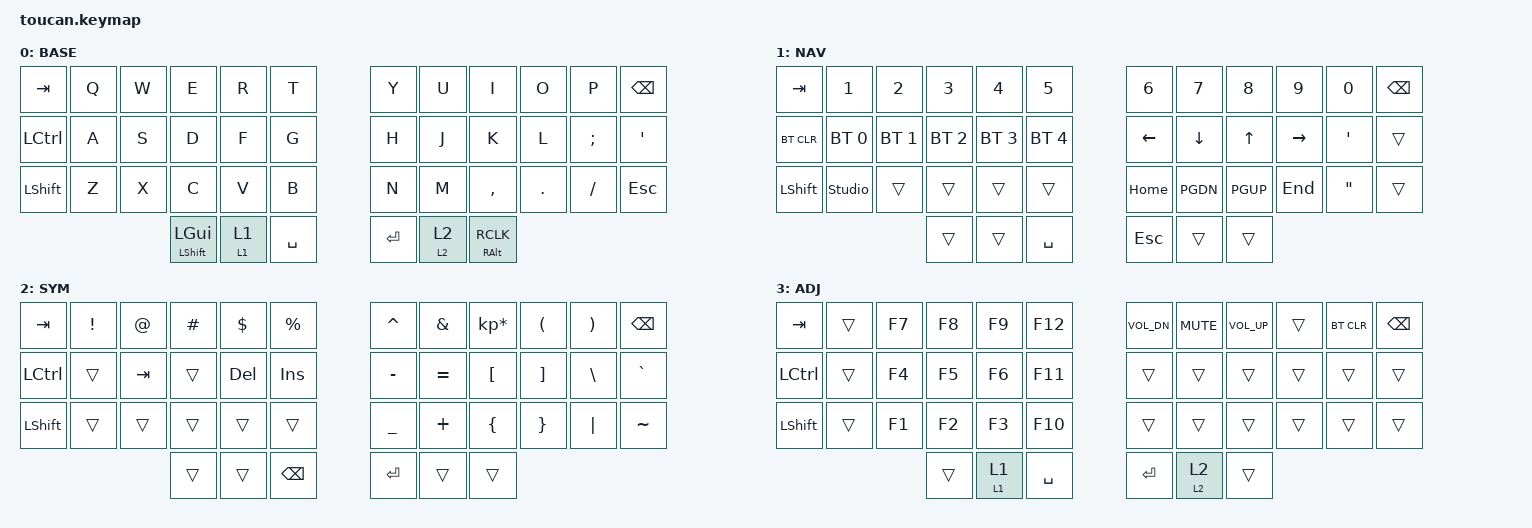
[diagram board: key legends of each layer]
#include <behaviors.dtsi>
#include <dt-bindings/zmk/keys.h>
#include <dt-bindings/zmk/bt.h>
#include <dt-bindings/zmk/pointing.h>

#define BASE 0
#define NAV 1
#define SYM 2
#define ADJ 3

/ {
    behaviors {
        lgui_shift: lgui_shift {
            compatible = "zmk,behavior-hold-tap";
            label = "LGUI_SHIFT";
            #binding-cells = <2>;
            flavor = "balanced";
            tapping-term-ms = <200>;
            quick-tap-ms = <175>;
            bindings = <&kp>, <&kp>;
        };

        ralt_rclk: ralt_rclk {
            compatible = "zmk,behavior-hold-tap";
            label = "RALT_RCLK";
            #binding-cells = <2>;
            flavor = "tap-preferred";
            tapping-term-ms = <200>;
            quick-tap-ms = <175>;
            bindings = <&kp>, <&mkp>;
        };

        nav_layer: nav_layer {
            compatible = "zmk,behavior-hold-tap";
            label = "NAV_LAYER";
            #binding-cells = <2>;
            flavor = "tap-preferred";
            tapping-term-ms = <200>;
            quick-tap-ms = <175>;
            bindings = <&mo>, <&tog>;
        };

        sym_layer: sym_layer {
            compatible = "zmk,behavior-hold-tap";
            label = "SYM_LAYER";
            #binding-cells = <2>;
            flavor = "tap-preferred";
            tapping-term-ms = <200>;
            quick-tap-ms = <175>;
            bindings = <&mo>, <&tog>;
        };
    };

    conditional_layers {
        compatible = "zmk,conditional-layers";
        tri_layer {
            if-layers = <1 2>;
            then-layer = <3>;
        };
    };

    keymap {
        compatible = "zmk,keymap";

        base {
            display-name = "BASE";
            bindings = <
                &kp TAB   &kp Q          &kp W          &kp E          &kp R          &kp T          &kp Y          &kp U          &kp I          &kp O          &kp P          &kp BSPC
                &kp LCTRL &kp A          &kp S          &kp D          &kp F          &kp G          &kp H          &kp J          &kp K          &kp L          &kp SEMI       &kp SQT
                &kp LSHFT &kp Z          &kp X          &kp C          &kp V          &kp B          &kp N          &kp M          &kp COMMA      &kp DOT        &kp FSLH       &kp ESC
                                     &lgui_shift LSHFT LGUI   &nav_layer 1 1   &kp SPACE   &kp RET   &sym_layer 2 2   &ralt_rclk RALT RCLK
            >;
        };

        nav {
            display-name = "NAV";
            bindings = <
                &kp TAB    &kp N1         &kp N2         &kp N3         &kp N4         &kp N5         &kp N6         &kp N7         &kp N8         &kp N9         &kp N0         &kp BSPC
                &bt BT_CLR &bt BT_SEL 0   &bt BT_SEL 1   &bt BT_SEL 2   &bt BT_SEL 3   &bt BT_SEL 4   &kp LEFT       &kp DOWN       &kp UP         &kp RIGHT      &kp SQT        &trans
                &kp LSHFT  &studio_unlock &trans         &trans         &trans         &trans         &kp HOME       &kp PGDN       &kp PGUP       &kp END        &kp DQT        &trans
                                     &trans             &trans          &kp SPACE      &kp ESC        &trans         &trans
            >;
        };

        sym {
            display-name = "SYM";
            bindings = <
                &kp TAB   &kp EXCL       &kp AT         &kp HASH       &kp DLLR       &kp PRCNT      &kp CARET      &kp AMPS       &kp KP_MULTIPLY &kp LPAR       &kp RPAR       &kp BSPC
                &kp LCTRL &trans         &kp TAB         &trans         &kp DEL        &kp INS        &kp MINUS      &kp EQUAL      &kp LBKT        &kp RBKT       &kp BSLH       &kp GRAVE
                &kp LSHFT &trans         &trans         &trans         &trans         &trans         &kp UNDER      &kp PLUS       &kp LBRC        &kp RBRC       &kp PIPE       &kp TILDE
                                     &trans            &trans          &kp BSPC       &kp RET        &trans         &trans
            >;
        };

        adj {
            display-name = "ADJ";
            bindings = <
                &kp TAB   &trans         &kp F7         &kp F8         &kp F9         &kp F12        &kp C_VOL_DN   &kp C_MUTE     &kp C_VOL_UP   &trans         &bt BT_CLR     &kp BSPC
                &kp LCTRL &trans         &kp F4         &kp F5         &kp F6         &kp F11        &trans         &trans         &trans         &trans         &trans         &trans
                &kp LSHFT &trans         &kp F1         &kp F2         &kp F3         &kp F10        &trans         &trans         &trans         &trans         &trans         &trans
                                     &trans            &nav_layer 1 1  &kp SPACE      &kp RET        &sym_layer 2 2 &trans
            >;
        };

        extra_1 {
            status = "reserved";
        };

        extra_2 {
            status = "reserved";
        };

        extra_3 {
            status = "reserved";
        };
    };
};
